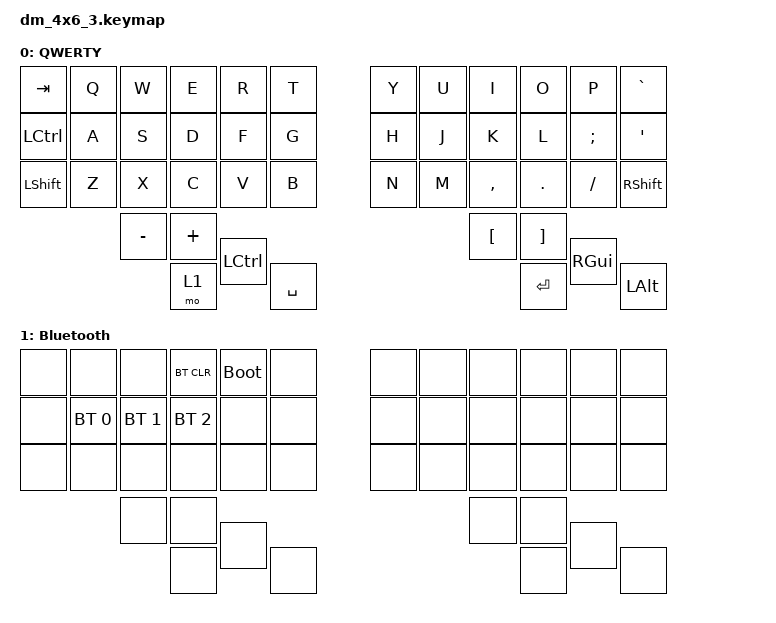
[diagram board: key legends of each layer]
#include <behaviors.dtsi>
#include <dt-bindings/zmk/bt.h>
#include <dt-bindings/zmk/ext_power.h>
#include <dt-bindings/zmk/keys.h>
#include <dt-bindings/zmk/outputs.h>

/ {
    keymap {
        compatible = "zmk,keymap";

        default_layer {
            display-name = "QWERTY";
            bindings = <
&kp TAB     &kp Q       &kp W       &kp E       &kp R       &kp T               &kp Y       &kp U       &kp I       &kp O       &kp P       &kp GRAVE
&kp LCTRL   &kp A       &kp S       &kp D       &kp F       &kp G               &kp H       &kp J       &kp K       &kp L       &kp SEMI    &kp SQT
&kp LSHFT   &kp Z       &kp X       &kp C       &kp V       &kp B               &kp N       &kp M       &kp COMMA   &kp DOT     &kp FSLH    &kp RSHFT
                        &kp MINUS   &kp PLUS                                                            &kp LBKT    &kp RBKT    
                        &mo 1       &kp LCTRL    &kp SPACE                       &kp ENTER   &kp RGUI    &kp LEFT_ALT
            >;
        };

        bt_layer {
            display-name = "Bluetooth";
            bindings = <
&none       &none       &none       &bt BT_CLR       &bootloader &none         &none       &none       &none       &none       &none       &none
&none     &bt BT_SEL 0  &bt BT_SEL 1 &bt BT_SEL 2    &none       &none         &none       &none       &none       &none       &none       &none
&none       &none       &none       &none       &none       &none              &none       &none       &none       &none       &none       &none
                        &none       &none                                                               &none       &none       
                        &none       &none    &none                                  &none   &none    &none
            >;
        };
    };
};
